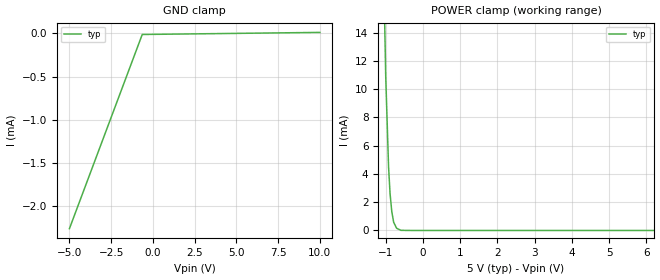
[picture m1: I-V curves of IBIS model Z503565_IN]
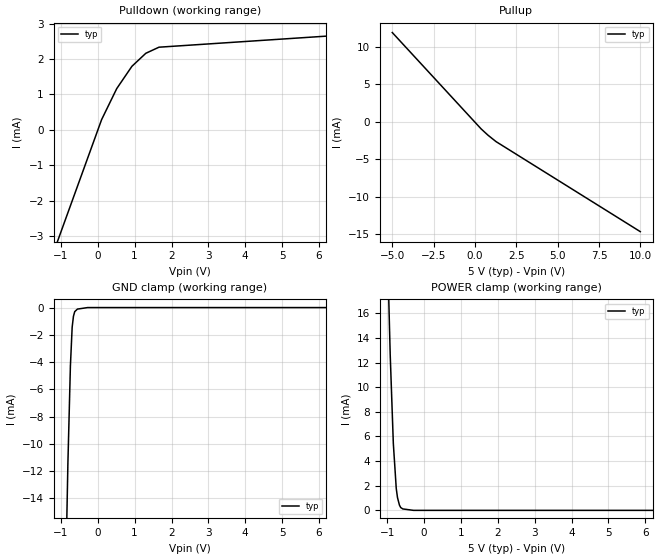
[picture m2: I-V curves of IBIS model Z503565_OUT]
| YOU ARE ONLY AUTHORIZED TO USE THIS SOFTWARE
| ACCORDING TO LICENSOR'S LICENSE RESTRICTIONS.
[IBIS Ver] 3.1
[File Name] mc14075bcl.ibs
[File Rev] 2.0
[Source] Measured and created by ICX Technology
[Date] Friday 7/14/00 9:07:53 AM
[Copyright]
| (C) COPYRIGHT 1993-2000
| MENTOR GRAPHICS CORPORATION
| ICX STANDARD LIBRARY, ICX PROJECT MODELING,
| ICX CUSTOM MODELING, ICX VENDOR MODEL
| ALL RIGHTS RESERVED.
| THE FOLLOWING ARE TRADEMARKS OR SERVICE MARKS OF
| MENTOR GRAPHICS CORPORATION:ICX (R), ICX STANDARD
| LIBRARY(R), ICX PROJECT MODELING(R), ICX CUSTOM
| MODELING(R), qualityIBIS(TM), MODELVIEWER(TM),
| AND MODELEDITOR(TM)
| ALL COPIES OF SOFTWARE, INCLUDING BUT NOT LIMITED TO
| ANY MODIFICATIONS, ENHANCEMENTS OR DERIVATIVE WORKS,
| MUST CONTAIN ALL MENTOR GRAPHICS CORPORATION'S
| NOTICES AND LEGENDS, INCLUDING THOSE EMBEDDED IN
| SOFTWARE AND THOSE AFFIXED TO SOFTWARE MEDIUM
| AND CONTAINER, AS RECEIVED FROM MENTOR GRAPHICS
| CORPORATION.
|  ZAP Model Builder 2.7
[Component] MC14075BCL
[Manufacturer] OnSemiconductor
[Package]
| variable   typ   min   max
R_pkg  .21ohms NA NA
L_pkg  4.543nH NA NA
C_pkg  1.8pF NA NA
[Pin] signal_name  model_name  R_pin  L_pin C_pin
1 IN1A Z503565_IN .22 6.757n 2.434p
2 IN2A Z503565_IN .212 4.757n 1.941p
3 IN1B Z503565_IN .204 3.257n 1.448p
4 IN2B Z503565_IN .196 2.257n .955p
5 IN3B Z503565_IN .204 3.257n 1.448p
6 OUTB Z503565_OUT .212 4.757n 1.941p
7 VSS POWER .22 6.757n 2.434p
8 IN3A Z503565_IN .22 6.757n 2.434p
9 OUTA Z503565_OUT .212 4.757n 1.941p
10 OUTC Z503565_OUT .204 3.257n 1.448p
11 IN1C Z503565_IN .196 2.257n .955p
12 IN2C Z503565_IN .204 3.257n 1.448p
13 IN3C Z503565_IN .212 4.757n 1.941p
14 VDD POWER .22 6.757n 2.434p
| Models and submodels in the file (2): Z503565_IN (Input), Z503565_OUT (Output)
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| (C) COPYRIGHT 1993-2000
| MENTOR GRAPHICS CORPORATION
| ICX STANDARD LIBRARY, ICX PROJECT MODELING,
| ICX CUSTOM MODELING, ICX VENDOR MODEL
| ALL RIGHTS RESERVED.
| THE FOLLOWING ARE TRADEMARKS OR SERVICE MARKS OF
| MENTOR GRAPHICS CORPORATION:ICX (R), ICX STANDARD
| LIBRARY(R), ICX PROJECT MODELING(R), ICX CUSTOM
| MODELING(R), qualityIBIS(TM), MODELVIEWER(TM),
| AND MODELEDITOR(TM)
| ALL COPIES OF SOFTWARE, INCLUDING BUT NOT LIMITED TO
| ANY MODIFICATIONS, ENHANCEMENTS OR DERIVATIVE WORKS,
| MUST CONTAIN ALL MENTOR GRAPHICS CORPORATION'S
| NOTICES AND LEGENDS, INCLUDING THOSE EMBEDDED IN
| SOFTWARE AND THOSE AFFIXED TO SOFTWARE MEDIUM
| AND CONTAINER, AS RECEIVED FROM MENTOR GRAPHICS
| CORPORATION.
| Model Application Version 1.89 2/18/99.
[Model] Z503565_IN
Model_type Input
Vinl = 1.500V
Vinh = 3.500V
C_comp 4.000pF NA NA
| variable typ   min   max
[Voltage Range] 5.000V NA NA
[GND Clamp Reference] 0.000V NA NA
[POWER Clamp Reference] 5.000V NA NA
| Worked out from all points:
|   POWER clamp passes 1 mA (typ) near -0.81 V on its own axis
[GND Clamp]
-5V       -2.258mA   NA         NA
-639.5mV  -14.51uA   NA         NA
10V       9.672uA    NA         NA
[POWER Clamp]
-5V       556.6mA    NA         NA
-999mV    10.88mA    NA         NA
-923mV    4.515mA    NA         NA
-883mV    2.621mA    NA         NA
-836mV    1.33mA     NA         NA
-786mV    583.6uA    NA         NA
-708mV    160.6uA    NA         NA
-592mV    9.878uA    NA         NA
-296mV    0A         NA         NA
10V       0A         NA         NA
| (C) COPYRIGHT 1993-2000
| MENTOR GRAPHICS CORPORATION
| ICX STANDARD LIBRARY, ICX PROJECT MODELING,
| ICX CUSTOM MODELING, ICX VENDOR MODEL
| ALL RIGHTS RESERVED.
| THE FOLLOWING ARE TRADEMARKS OR SERVICE MARKS OF
| MENTOR GRAPHICS CORPORATION:ICX (R), ICX STANDARD
| LIBRARY(R), ICX PROJECT MODELING(R), ICX CUSTOM
| MODELING(R), qualityIBIS(TM), MODELVIEWER(TM),
| AND MODELEDITOR(TM)
| ALL COPIES OF SOFTWARE, INCLUDING BUT NOT LIMITED TO
| ANY MODIFICATIONS, ENHANCEMENTS OR DERIVATIVE WORKS,
| MUST CONTAIN ALL MENTOR GRAPHICS CORPORATION'S
| NOTICES AND LEGENDS, INCLUDING THOSE EMBEDDED IN
| SOFTWARE AND THOSE AFFIXED TO SOFTWARE MEDIUM
| AND CONTAINER, AS RECEIVED FROM MENTOR GRAPHICS
| CORPORATION.
| Model Application Version 1.89 2/18/99.
[Model] Z503565_OUT
Model_type Output
Vref=0.000V
Rref=500.0Mohms
Cref=50.00pF
Vmeas=2.500V
C_comp 8.000pF NA NA
| variable typ   min   max
[Voltage Range] 5.000V NA NA
[POWER Clamp Reference] 5.000V NA NA
[Pullup Reference] 5.000V NA NA
[Pulldown Reference] 0.000V NA NA
[GND Clamp Reference] 0.000V NA NA
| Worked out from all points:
|   slope of the pulldown table from 0 to 0.75 V, typ, clamps not added: 488 ohm
|   slope of the pullup table from 0 to 0.75 V, typ, clamps not added: 453 ohm
|   GND clamp passes 1 mA (typ) near -0.68 V on its own axis
|   POWER clamp passes 1 mA (typ) near -0.72 V on its own axis
[GND Clamp]
-5V       -594.9mA   NA         NA
-810.4mV  -11.45mA   NA         NA
-742.2mV  -4.284mA   NA         NA
-694.6mV  -1.442mA   NA         NA
-659.7mV  -638.3uA   NA         NA
-625mV    -298.1uA   NA         NA
-551.8mV  -111.6uA   NA         NA
-275.9mV  0A         NA         NA
10V       0A         NA         NA
[Pulldown]
-5V       -14.39mA   NA         NA
103.9mV   288.6uA    NA         NA
514.3mV   1.165mA    NA         NA
926.1mV   1.795mA    NA         NA
1.303V    2.163mA    NA         NA
1.66V     2.335mA    NA         NA
10V       2.909mA    NA         NA
[Pullup]
-5V       11.93mA    NA         NA
376mV     -944.1uA   NA         NA
786mV     -1.774mA   NA         NA
1.274V    -2.635mA   NA         NA
10V       -14.66mA   NA         NA
[POWER Clamp]
-5V       483.1mA    NA         NA
-920mV    12.66mA    NA         NA
-835mV    5.433mA    NA         NA
-756mV    1.783mA    NA         NA
-722mV    1.036mA    NA         NA
-669mV    425uA      NA         NA
-635mV    228.5uA    NA         NA
-577mV    115.4uA    NA         NA
-288.5mV  0A         NA         NA
10V       0A         NA         NA
[Ramp]
| variable typ min max
dV/dt_r 2.548/12.60n NA NA
dV/dt_f 2.548/11.52n NA NA
R_load = 2.500kOhms
